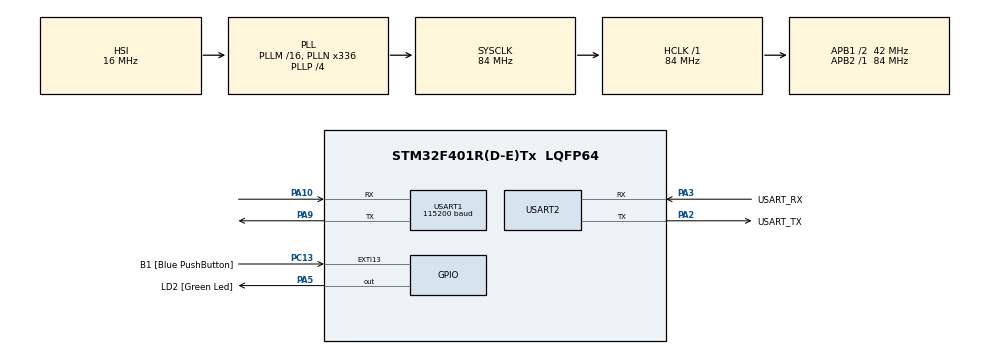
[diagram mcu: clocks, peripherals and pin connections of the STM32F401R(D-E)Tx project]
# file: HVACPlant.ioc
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Mcu.Family=STM32F4
Mcu.Name=STM32F401R(D-E)Tx
Mcu.Package=LQFP64
NVIC.PriorityGroup=NVIC_PRIORITYGROUP_0
NVIC.USART1_IRQn=true\:5\:0\:false\:false\:true\:true\:true\:true
PA10.Mode=Asynchronous
PA10.Signal=USART1_RX
PA13.GPIO_Label=TMS
PA13.Mode=Serial_Wire
PA13.Signal=SYS_JTMS-SWDIO
PA14.GPIO_Label=TCK
PA14.Mode=Serial_Wire
PA14.Signal=SYS_JTCK-SWCLK
PA2.GPIO_Label=USART_TX
PA2.GPIO_Mode=GPIO_MODE_AF_PP
PA2.GPIO_PuPd=GPIO_NOPULL
PA2.GPIO_Speed=GPIO_SPEED_FREQ_LOW
PA2.Mode=Asynchronous
PA2.Signal=USART2_TX
PA3.GPIO_Label=USART_RX
PA3.GPIO_Mode=GPIO_MODE_AF_PP
PA3.GPIO_PuPd=GPIO_NOPULL
PA3.GPIO_Speed=GPIO_SPEED_FREQ_LOW
PA3.Mode=Asynchronous
PA3.Signal=USART2_RX
PA5.GPIO_Label=LD2 [Green Led]
PA5.GPIO_Mode=GPIO_MODE_OUTPUT_PP
PA5.GPIO_PuPd=GPIO_NOPULL
PA5.GPIO_Speed=GPIO_SPEED_FREQ_LOW
PA5.Signal=GPIO_Output
PA9.Mode=Asynchronous
PA9.Signal=USART1_TX
PB3.GPIO_Label=SWO
PB3.Signal=SYS_JTDO-SWO
PC13-ANTI_TAMP.GPIO_Label=B1 [Blue PushButton]
PC13-ANTI_TAMP.GPIO_ModeDefaultEXTI=GPIO_MODE_IT_FALLING
PC13-ANTI_TAMP.GPIO_PuPd=GPIO_NOPULL
PC13-ANTI_TAMP.Signal=GPXTI13
PC14-OSC32_IN.Mode=LSE-External-Oscillator
PC14-OSC32_IN.Signal=RCC_OSC32_IN
PC15-OSC32_OUT.Mode=LSE-External-Oscillator
PC15-OSC32_OUT.Signal=RCC_OSC32_OUT
PH0\ -\ OSC_IN.Mode=HSE-External-Clock-Source
PH0\ -\ OSC_IN.Signal=RCC_OSC_IN
PH1\ -\ OSC_OUT.Mode=HSE-External-Clock-Source
PH1\ -\ OSC_OUT.Signal=RCC_OSC_OUT
ProjectManager.HeapSize=0x200
ProjectManager.StackSize=0x400
ProjectManager.TargetToolchain=CMake
RCC.48MHZClocksFreq_Value=48000000
RCC.AHBFreq_Value=84000000
RCC.APB1CLKDivider=RCC_HCLK_DIV2
RCC.APB1Freq_Value=42000000
RCC.APB1TimFreq_Value=84000000
RCC.APB2Freq_Value=84000000
RCC.APB2TimFreq_Value=84000000
RCC.CortexFreq_Value=84000000
RCC.HCLKFreq_Value=84000000
RCC.HSE_VALUE=8000000
RCC.HSI_VALUE=16000000
RCC.PLLN=336
RCC.PLLP=RCC_PLLP_DIV4
RCC.PLLQ=7
RCC.SYSCLKFreq_VALUE=84000000
RCC.SYSCLKSource=RCC_SYSCLKSOURCE_PLLCLK
RCC.VCOOutputFreq_Value=336000000
USART1.BaudRate=115200
USART1.Mode=MODE_TX_RX
USART1.OverSampling=UART_OVERSAMPLING_16
USART1.Parity=PARITY_NONE
USART1.StopBits=STOPBITS_1
USART1.VirtualMode=VM_ASYNC
USART1.WordLength=WORDLENGTH_8B
USART2.VirtualMode=VM_ASYNC
board=NUCLEO-F401RE

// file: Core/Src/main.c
/* USER CODE BEGIN Header */
/**
  ******************************************************************************
  * @file           : main.c
  * @brief          : Main program body
  ******************************************************************************
  * @attention
  *
  * Copyright (c) 2026 STMicroelectronics.
  * All rights reserved.
  *
  * This software is licensed under terms that can be found in the LICENSE file
  * in the root directory of this software component.
  * If no LICENSE file comes with this software, it is provided AS-IS.
  *
  ******************************************************************************
  */
/* USER CODE END Header */
#include "main.h"

/* USER CODE BEGIN Includes */
#include "plant.h"
#include <stdio.h>
#include <string.h>
/* USER CODE END Includes */

/* USER CODE BEGIN PD */
#define LINK_RX_BUF_LEN   32
#define LINK_INITIAL_Y    0.0
/* USER CODE END PD */

UART_HandleTypeDef huart1;
UART_HandleTypeDef huart2;

/* USER CODE BEGIN PV */
static Plant_t plant;

/* Interrupt-driven USART1 line reception. HAL_UART_Receive_IT is re-armed for
 * one byte at a time from the RxCpltCallback, so incoming bytes are captured
 * by the peripheral/ISR regardless of what the main loop is doing, avoiding
 * the overrun that polling HAL_UART_Receive suffered from. */
static uint8_t link_rx_byte;
static char link_rx_line[LINK_RX_BUF_LEN];
static volatile uint16_t link_rx_len = 0;
static volatile uint8_t link_rx_line_ready = 0;
/* USER CODE END PV */

void SystemClock_Config(void);
static void MX_GPIO_Init(void);
static void MX_USART1_UART_Init(void);
static void MX_USART2_UART_Init(void);

/* USER CODE BEGIN 0 */
int __io_putchar(int ch)
{
  HAL_UART_Transmit(&huart2, (uint8_t *)&ch, 1, HAL_MAX_DELAY);
  return ch;
}

/* Called from USART1_IRQHandler via HAL_UART_IRQHandler whenever one byte has
 * been received. Assembles link_rx_line and re-arms the next single-byte
 * receive so bytes are never missed while the main loop is busy elsewhere. */
void HAL_UART_RxCpltCallback(UART_HandleTypeDef *huart)
{
  if (huart->Instance != USART1)
  {
    return;
  }

  uint8_t ch = link_rx_byte;

  if (!link_rx_line_ready)
  {
    if (ch == '\n')
    {
      link_rx_line[link_rx_len] = '\0';
      link_rx_line_ready = 1;
    }
    else if (ch != '\r')
    {
      if (link_rx_len < LINK_RX_BUF_LEN - 1)
      {
        link_rx_line[link_rx_len++] = (char)ch;
      }
      else
      {
        /* Line too long: drop it and resync on the next '\n'. */
        link_rx_len = 0;
      }
    }
  }

  HAL_UART_Receive_IT(&huart1, &link_rx_byte, 1);
}

/* Waits (with a timeout) for HAL_UART_RxCpltCallback to assemble one
 * "<tick>,<value>[,<ambient>]\r\n" line from USART1. Returns 1 on success.
 * The ambient field is optional: Board 1 omits it when it has no valid
 * BME280 reading, and *has_ambient tells the caller which case it was. */
static int Link_ReceiveLine(unsigned long *tick, double *value, double *ambient, int *has_ambient)
{
  uint32_t start = HAL_GetTick();

  while (!link_rx_line_ready)
  {
    if ((HAL_GetTick() - start) > 500)
    {
      return 0;
    }
  }

  int fields = (link_rx_len > 0) ? sscanf(link_rx_line, "%lu,%lf,%lf", tick, value, ambient) : 0;
  int ok = (fields >= 2);
  *has_ambient = (fields == 3);

  link_rx_len = 0;
  link_rx_line_ready = 0;

  return ok;
}

static void Link_SendLine(unsigned long tick, double value)
{
  char out[LINK_RX_BUF_LEN];
  int n = snprintf(out, sizeof(out), "%lu,%.4f\r\n", tick, value);

  HAL_UART_Transmit(&huart1, (uint8_t *)out, (uint16_t)n, 100);
}
/* USER CODE END 0 */

int main(void)
{

  /* MCU Configuration--------------------------------------------------------*/

  /* Reset of all peripherals, Initializes the Flash interface and the Systick. */
  HAL_Init();

  /* Configure the system clock */
  SystemClock_Config();

  /* Initialize all configured peripherals */
  MX_GPIO_Init();
  MX_USART1_UART_Init();
  MX_USART2_UART_Init();
  /* USER CODE BEGIN 2 */
  HAL_UART_Receive_IT(&huart1, &link_rx_byte, 1);

  Plant_Init(&plant, PLANT_NUM, PLANT_DEN, PLANT_NUM_AMBIENT, LINK_INITIAL_Y);

  printf("HVACPlant: plant simulator ready (num=%.6f, den=%.6f, num_d=%.6f, Ts=%.2fs, ambient ref=%.1fC)\r\n",
         PLANT_NUM, PLANT_DEN, PLANT_NUM_AMBIENT, PLANT_TS, PLANT_AMBIENT_REF_DEGC);

  /* Ambient deviation fed to the plant. Held at its last value when a frame
   * arrives without an ambient field, so a brief sensor dropout on Board 1
   * doesn't show up as a step disturbance. */
  double ambient_dev = 0.0;
  /* USER CODE END 2 */

  /* Infinite loop */
  /* USER CODE BEGIN WHILE */
  while (1)
  {
    unsigned long tick = 0;
    double valve_output = 0.0;
    double ambient_degC = 0.0;
    int has_ambient = 0;

    if (Link_ReceiveLine(&tick, &valve_output, &ambient_degC, &has_ambient))
    {
      if (has_ambient)
      {
        ambient_dev = ambient_degC - PLANT_AMBIENT_REF_DEGC;
      }

      double simulated_temp = Plant_Update(&plant, valve_output, ambient_dev);
      Link_SendLine(tick, simulated_temp);
      printf("tick=%lu valve=%.4f ambient_dev=%+.2f -> y=%.4f\r\n",
             tick, valve_output, ambient_dev, simulated_temp);
    }
    else
    {
      printf("HVACPlant: malformed/missing frame, waiting for next line\r\n");
    }
    /* USER CODE END WHILE */

  }
}

void SystemClock_Config(void)
{
  RCC_OscInitTypeDef RCC_OscInitStruct = {0};
  RCC_ClkInitTypeDef RCC_ClkInitStruct = {0};

  /** Configure the main internal regulator output voltage
  */
  __HAL_RCC_PWR_CLK_ENABLE();
  __HAL_PWR_VOLTAGESCALING_CONFIG(PWR_REGULATOR_VOLTAGE_SCALE2);

  /** Initializes the RCC Oscillators according to the specified parameters
  * in the RCC_OscInitTypeDef structure.
  */
  RCC_OscInitStruct.OscillatorType = RCC_OSCILLATORTYPE_HSI;
  RCC_OscInitStruct.HSIState = RCC_HSI_ON;
  RCC_OscInitStruct.HSICalibrationValue = RCC_HSICALIBRATION_DEFAULT;
  RCC_OscInitStruct.PLL.PLLState = RCC_PLL_ON;
  RCC_OscInitStruct.PLL.PLLSource = RCC_PLLSOURCE_HSI;
  RCC_OscInitStruct.PLL.PLLM = 16;
  RCC_OscInitStruct.PLL.PLLN = 336;
  RCC_OscInitStruct.PLL.PLLP = RCC_PLLP_DIV4;
  RCC_OscInitStruct.PLL.PLLQ = 7;
  if (HAL_RCC_OscConfig(&RCC_OscInitStruct) != HAL_OK)
  {
    Error_Handler();
  }

  /** Initializes the CPU, AHB and APB buses clocks
  */
  RCC_ClkInitStruct.ClockType = RCC_CLOCKTYPE_HCLK|RCC_CLOCKTYPE_SYSCLK
                              |RCC_CLOCKTYPE_PCLK1|RCC_CLOCKTYPE_PCLK2;
  RCC_ClkInitStruct.SYSCLKSource = RCC_SYSCLKSOURCE_PLLCLK;
  RCC_ClkInitStruct.AHBCLKDivider = RCC_SYSCLK_DIV1;
  RCC_ClkInitStruct.APB1CLKDivider = RCC_HCLK_DIV2;
  RCC_ClkInitStruct.APB2CLKDivider = RCC_HCLK_DIV1;

  if (HAL_RCC_ClockConfig(&RCC_ClkInitStruct, FLASH_LATENCY_2) != HAL_OK)
  {
    Error_Handler();
  }
}

static void MX_USART1_UART_Init(void)
{

  huart1.Instance = USART1;
  huart1.Init.BaudRate = 115200;
  huart1.Init.WordLength = UART_WORDLENGTH_8B;
  huart1.Init.StopBits = UART_STOPBITS_1;
  huart1.Init.Parity = UART_PARITY_NONE;
  huart1.Init.Mode = UART_MODE_TX_RX;
  huart1.Init.HwFlowCtl = UART_HWCONTROL_NONE;
  huart1.Init.OverSampling = UART_OVERSAMPLING_16;
  if (HAL_UART_Init(&huart1) != HAL_OK)
  {
    Error_Handler();
  }

}

static void MX_USART2_UART_Init(void)
{

  huart2.Instance = USART2;
  huart2.Init.BaudRate = 115200;
  huart2.Init.WordLength = UART_WORDLENGTH_8B;
  huart2.Init.StopBits = UART_STOPBITS_1;
  huart2.Init.Parity = UART_PARITY_NONE;
  huart2.Init.Mode = UART_MODE_TX_RX;
  huart2.Init.HwFlowCtl = UART_HWCONTROL_NONE;
  huart2.Init.OverSampling = UART_OVERSAMPLING_16;
  if (HAL_UART_Init(&huart2) != HAL_OK)
  {
    Error_Handler();
  }

}

static void MX_GPIO_Init(void)
{
  GPIO_InitTypeDef GPIO_InitStruct = {0};

  /* GPIO Ports Clock Enable */
  __HAL_RCC_GPIOC_CLK_ENABLE();
  __HAL_RCC_GPIOH_CLK_ENABLE();
  __HAL_RCC_GPIOA_CLK_ENABLE();
  __HAL_RCC_GPIOB_CLK_ENABLE();

  /*Configure GPIO pin Output Level */
  HAL_GPIO_WritePin(LD2_GPIO_Port, LD2_Pin, GPIO_PIN_RESET);

  /*Configure GPIO pin : B1_Pin */
  GPIO_InitStruct.Pin = B1_Pin;
  GPIO_InitStruct.Mode = GPIO_MODE_IT_FALLING;
  GPIO_InitStruct.Pull = GPIO_NOPULL;
  HAL_GPIO_Init(B1_GPIO_Port, &GPIO_InitStruct);

  /*Configure GPIO pin : LD2_Pin */
  GPIO_InitStruct.Pin = LD2_Pin;
  GPIO_InitStruct.Mode = GPIO_MODE_OUTPUT_PP;
  GPIO_InitStruct.Pull = GPIO_NOPULL;
  GPIO_InitStruct.Speed = GPIO_SPEED_FREQ_LOW;
  HAL_GPIO_Init(LD2_GPIO_Port, &GPIO_InitStruct);

}

void Error_Handler(void)
{
  __disable_irq();
  while (1)
  {
  }
}
